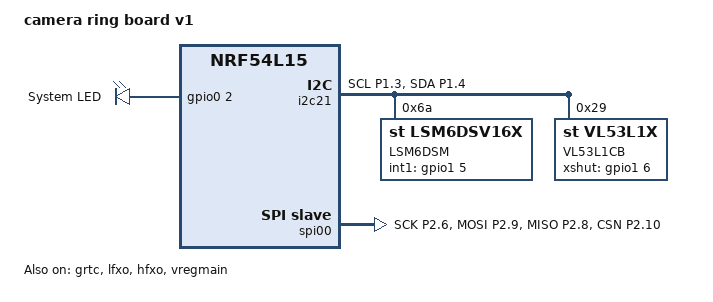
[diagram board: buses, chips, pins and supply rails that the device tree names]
/dts-v1/;
#include <nordic/nrf54l15_cpuapp.dtsi>
#include "nrf54v1-pinctrl.dtsi"

/ {
	model = "camera ring board v1";
	compatible = "nrf54l15,nrf54v1-cpuapp";

	chosen {
		// zephyr,code-partition = &slot0_partition;
		zephyr,sram = &cpuapp_sram;
		zephyr,flash = &cpuapp_rram;
		zephyr,flash-controller = &rram_controller;
	};


	aliases {
		led0 = &my_led_0;
	};

	

	leds {
			compatible = "gpio-leds";
			my_led_0: led_0 {
				gpios = <&gpio0 2 GPIO_ACTIVE_HIGH>;
				label = "System LED";
			};
		};
};


&grtc {
	owned-channels = <0 1 2 3 4 5 6 7 8 9 10 11>;
	/* Channels 7-11 reserved for Zero Latency IRQs, 3-4 for FLPR */
	child-owned-channels = <3 4 7 8 9 10 11>;
	status = "okay";
};

&cpuapp_sram {
	status = "okay";
};

&gpio0 {
	status = "okay";
};

&gpio1 {
	status = "okay"; 
};

&gpio2 {
	status = "okay"; 
};

&gpiote20 {
    status = "okay";
};

&gpiote30 {
    status = "okay";
};

&nfct {
    status = "disabled";
};

&uicr {

      nfct-pins-as-gpios;

};


&i2c21 {
    status = "okay";
    pinctrl-0 = <&i2c21_default>;
	pinctrl-1 = <&i2c21_sleep>;
    pinctrl-names = "default", "sleep";

	/*IMU: lsm6dsv16x */
    lsm6dsv16x:lsm6dsv16x@6a {
        compatible = "st,lsm6dsv16x";
        reg = <0x6a>;
        label = "LSM6DSM";
		int1-gpios = <&gpio1 5 GPIO_ACTIVE_HIGH>;
        status = "okay";
    };

	    /* ToF Sensor: VL53L1CB */
    vl53l1cb: vl53l1cb@29 {
        compatible = "st,vl53l1x";
        reg = <0x29>;
        label = "VL53L1CB";
        status = "okay";
		xshut-gpios = <&gpio1 6 GPIO_ACTIVE_HIGH>;
    };

	// hm01b0: hm01b0@24 {
	// 	compatible = "himax,hm01b0";
	// 	reg = <0x24>;
	// 	label = "HM01B0";
	// 	status = "okay";

	// };

	
};

&pinctrl {
    i2c21_default: i2c21_default {
        group1 {
            psels = <NRF_PSEL(TWIM_SCL, 1, 3)>,
                    <NRF_PSEL(TWIM_SDA, 1, 4)>;
        };
    };

    i2c21_sleep: i2c21_sleep {
        group1 {
            psels = <NRF_PSEL(TWIM_SCL, 1, 3)>,
                    <NRF_PSEL(TWIM_SDA, 1, 4)>;
            low-power-enable;
        };
    };

    spi_slave_default: spi_slave_default {
		group1 {
			psels = <NRF_PSEL(SPIS_SCK, 2, 6)>,
					<NRF_PSEL(SPIS_MOSI, 2, 9)>,
					<NRF_PSEL(SPIS_MISO, 2, 8)>,
					<NRF_PSEL(SPIS_CSN, 2, 10)>;
		};
	};

	spi_slave_sleep: spi_slave_sleep {
		group1 {
			psels = <NRF_PSEL(SPIS_SCK, 2, 6)>,
					<NRF_PSEL(SPIS_MOSI, 2, 9)>,
					<NRF_PSEL(SPIS_MISO, 2, 8)>,
					<NRF_PSEL(SPIS_CSN, 2, 10)>;
			low-power-enable;
		};
	};

	spi20_default: spi20_default {
	group1 {
			psels = <NRF_PSEL(SPIM_SCK, 2, 1)>,
						<NRF_PSEL(SPIM_MOSI, 2, 2)>,
						<NRF_PSEL(SPIM_MISO, 2, 4)>;
		};
	};
	spi20_sleep: spi20_sleep {
	group1 {
			psels = <NRF_PSEL(SPIM_SCK, 2, 1)>,
						<NRF_PSEL(SPIM_MOSI, 2, 2)>,
						<NRF_PSEL(SPIM_MISO, 2, 4)>;
			low-power-enable;
		};
	};
};


&clock {
    status = "okay";
};

&lfxo {
	load-capacitors = "internal";
	load-capacitance-femtofarad = <15500>;
	status = "okay";
};

&hfxo {
	load-capacitors = "internal";
	load-capacitance-femtofarad = <12000>;
	status = "okay";
};

/* External flash is unused. spi20's pins are on port 2 (a different power
 * domain), so enabling it would also require CONFIG_NRF_SYS_EVENT. */
&spi20 {
    status = "disabled";
    compatible = "nordic,nrf-spim";
    pinctrl-0 = <&spi20_default>;
	pinctrl-1 = <&spi20_sleep>;
    pinctrl-names = "default", "sleep";
	cs-gpios = <&gpio2 5 GPIO_ACTIVE_LOW>;

    mx25r16: flash@0 {
        compatible = "jedec,spi-nor";
        label = "MX25R1635F";
        reg = <0>;                    /* Chip select index */
        spi-max-frequency = <8000000>;
        jedec-id = [c2 28 15];        /* Macronix manufacturer + device ID */
        size = <0x1000000>;           /* 2 MB */
        status = "okay";
    };
};

my_spi_slave: &spi00 {
	compatible = "nordic,nrf-spis";
	status = "okay";
	pinctrl-0 = <&spi_slave_default>;
	pinctrl-1 = <&spi_slave_sleep>;
	pinctrl-names = "default", "sleep";
	def-char = <0x00>;
    /delete-property/ rx-delay-supported;
    /delete-property/ rx-delay;
};
/* Internal DC/DC: L1 (4.7 uH) is fitted between DCC and DECD. Cuts radio
 * and CPU current versus the LDO. */
&vregmain {
	status = "okay";
	regulator-initial-mode = <NRF5X_REG_MODE_DCDC>;
};
